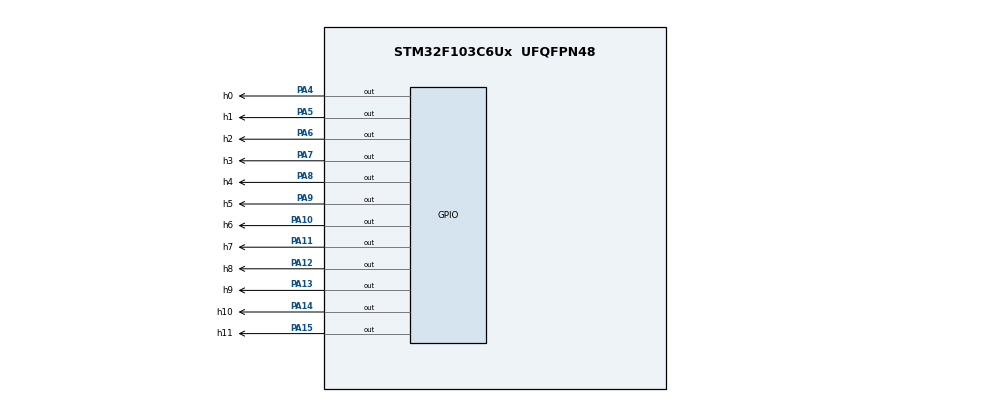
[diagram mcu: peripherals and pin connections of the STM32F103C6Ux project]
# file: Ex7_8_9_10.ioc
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Mcu.Family=STM32F1
Mcu.Name=STM32F103C6Ux
Mcu.Package=UFQFPN48
NVIC.PriorityGroup=NVIC_PRIORITYGROUP_4
PA10.GPIO_Label=h6
PA10.GPIO_ModeDefaultOutputPP=GPIO_MODE_OUTPUT_PP
PA10.PinState=GPIO_PIN_SET
PA10.Signal=GPIO_Output
PA11.GPIO_Label=h7
PA11.GPIO_ModeDefaultOutputPP=GPIO_MODE_OUTPUT_PP
PA11.PinState=GPIO_PIN_SET
PA11.Signal=GPIO_Output
PA12.GPIO_Label=h8
PA12.GPIO_ModeDefaultOutputPP=GPIO_MODE_OUTPUT_PP
PA12.PinState=GPIO_PIN_SET
PA12.Signal=GPIO_Output
PA13.GPIO_Label=h9
PA13.GPIO_ModeDefaultOutputPP=GPIO_MODE_OUTPUT_PP
PA13.PinState=GPIO_PIN_SET
PA13.Signal=GPIO_Output
PA14.GPIO_Label=h10
PA14.GPIO_ModeDefaultOutputPP=GPIO_MODE_OUTPUT_PP
PA14.PinState=GPIO_PIN_SET
PA14.Signal=GPIO_Output
PA15.GPIO_Label=h11
PA15.GPIO_ModeDefaultOutputPP=GPIO_MODE_OUTPUT_PP
PA15.PinState=GPIO_PIN_SET
PA15.Signal=GPIO_Output
PA4.GPIO_Label=h0
PA4.GPIO_ModeDefaultOutputPP=GPIO_MODE_OUTPUT_PP
PA4.PinState=GPIO_PIN_SET
PA4.Signal=GPIO_Output
PA5.GPIO_Label=h1
PA5.GPIO_ModeDefaultOutputPP=GPIO_MODE_OUTPUT_PP
PA5.PinState=GPIO_PIN_SET
PA5.Signal=GPIO_Output
PA6.GPIO_Label=h2
PA6.GPIO_ModeDefaultOutputPP=GPIO_MODE_OUTPUT_PP
PA6.PinState=GPIO_PIN_SET
PA6.Signal=GPIO_Output
PA7.GPIO_Label=h3
PA7.GPIO_ModeDefaultOutputPP=GPIO_MODE_OUTPUT_PP
PA7.PinState=GPIO_PIN_SET
PA7.Signal=GPIO_Output
PA8.GPIO_Label=h4
PA8.GPIO_ModeDefaultOutputPP=GPIO_MODE_OUTPUT_PP
PA8.PinState=GPIO_PIN_SET
PA8.Signal=GPIO_Output
PA9.GPIO_Label=h5
PA9.GPIO_ModeDefaultOutputPP=GPIO_MODE_OUTPUT_PP
PA9.PinState=GPIO_PIN_SET
PA9.Signal=GPIO_Output
ProjectManager.HeapSize=0x200
ProjectManager.StackSize=0x400
ProjectManager.TargetToolchain=STM32CubeIDE
RCC.APB1Freq_Value=8000000
RCC.APB2Freq_Value=8000000
VP_SYS_VS_ND.Mode=No_Debug
board=custom

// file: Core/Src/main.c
/* USER CODE BEGIN Header */
/**
  ******************************************************************************
  * @file           : main.c
  * @brief          : Main program body
  ******************************************************************************
  * @attention
  *
  * Copyright (c) 2026 STMicroelectronics.
  * All rights reserved.
  *
  * This software is licensed under terms that can be found in the LICENSE file
  * in the root directory of this software component.
  * If no LICENSE file comes with this software, it is provided AS-IS.
  *
  ******************************************************************************
  */
/* USER CODE END Header */
#include "main.h"

void SystemClock_Config(void);
static void MX_GPIO_Init(void);

/* USER CODE BEGIN 0 */
void clearAllClock(void) {
    for (int i = 4; i <= 15; i++) {
        HAL_GPIO_WritePin(GPIOA, (uint16_t)(1 << i), GPIO_PIN_SET);
    }
}
void setNumberOnClock(int num) {
    if (num >= 0 && num <= 11) {
        HAL_GPIO_WritePin(GPIOA, (uint16_t)(1 << (num + 4)), GPIO_PIN_RESET);
    }
}
void clearNumberOnClock(int num) {
    if (num >= 0 && num <= 11) {
        HAL_GPIO_WritePin(GPIOA, (uint16_t)(1 << (num + 4)), GPIO_PIN_SET);
    }
}
/* USER CODE END 0 */

int main(void)
{

  /* MCU Configuration--------------------------------------------------------*/

  /* Reset of all peripherals, Initializes the Flash interface and the Systick. */
  HAL_Init();

  /* Configure the system clock */
  SystemClock_Config();

  /* Initialize all configured peripherals */
  MX_GPIO_Init();
  int hour = 0;
  int min = 10;
  int sec = 0;
  /* Infinite loop */
  /* USER CODE BEGIN WHILE */
  while (1)
  {
	  clearAllClock();

	int hour_pos = hour % 12;
	int min_pos = min / 5;
	int sec_pos = sec / 5;

	setNumberOnClock(hour_pos);
	setNumberOnClock(min_pos);
	setNumberOnClock(sec_pos);

	HAL_Delay(1000);

	sec++;
	if (sec >= 60) {
		sec = 0;
		min++;
		if (min >= 60) {
			min = 0;
			hour++;
			if (hour >= 24) {
				hour = 0;
			}
		}
	}
    /* USER CODE END WHILE */

  }
}

void SystemClock_Config(void)
{
  RCC_OscInitTypeDef RCC_OscInitStruct = {0};
  RCC_ClkInitTypeDef RCC_ClkInitStruct = {0};

  /** Initializes the RCC Oscillators according to the specified parameters
  * in the RCC_OscInitTypeDef structure.
  */
  RCC_OscInitStruct.OscillatorType = RCC_OSCILLATORTYPE_HSI;
  RCC_OscInitStruct.HSIState = RCC_HSI_ON;
  RCC_OscInitStruct.HSICalibrationValue = RCC_HSICALIBRATION_DEFAULT;
  RCC_OscInitStruct.PLL.PLLState = RCC_PLL_NONE;
  if (HAL_RCC_OscConfig(&RCC_OscInitStruct) != HAL_OK)
  {
    Error_Handler();
  }

  /** Initializes the CPU, AHB and APB buses clocks
  */
  RCC_ClkInitStruct.ClockType = RCC_CLOCKTYPE_HCLK|RCC_CLOCKTYPE_SYSCLK
                              |RCC_CLOCKTYPE_PCLK1|RCC_CLOCKTYPE_PCLK2;
  RCC_ClkInitStruct.SYSCLKSource = RCC_SYSCLKSOURCE_HSI;
  RCC_ClkInitStruct.AHBCLKDivider = RCC_SYSCLK_DIV1;
  RCC_ClkInitStruct.APB1CLKDivider = RCC_HCLK_DIV1;
  RCC_ClkInitStruct.APB2CLKDivider = RCC_HCLK_DIV1;

  if (HAL_RCC_ClockConfig(&RCC_ClkInitStruct, FLASH_LATENCY_0) != HAL_OK)
  {
    Error_Handler();
  }
}

static void MX_GPIO_Init(void)
{
  GPIO_InitTypeDef GPIO_InitStruct = {0};

  /* GPIO Ports Clock Enable */
  __HAL_RCC_GPIOA_CLK_ENABLE();

  /*Configure GPIO pin Output Level */
  HAL_GPIO_WritePin(GPIOA, h0_Pin|h1_Pin|h2_Pin|h3_Pin
                          |h4_Pin|h5_Pin|h6_Pin|h7_Pin
                          |h8_Pin|h9_Pin|h10_Pin|h11_Pin, GPIO_PIN_SET);

  /*Configure GPIO pins : h0_Pin h1_Pin h2_Pin h3_Pin
                           h4_Pin h5_Pin h6_Pin h7_Pin
                           h8_Pin h9_Pin h10_Pin h11_Pin */
  GPIO_InitStruct.Pin = h0_Pin|h1_Pin|h2_Pin|h3_Pin
                          |h4_Pin|h5_Pin|h6_Pin|h7_Pin
                          |h8_Pin|h9_Pin|h10_Pin|h11_Pin;
  GPIO_InitStruct.Mode = GPIO_MODE_OUTPUT_PP;
  GPIO_InitStruct.Pull = GPIO_NOPULL;
  GPIO_InitStruct.Speed = GPIO_SPEED_FREQ_LOW;
  HAL_GPIO_Init(GPIOA, &GPIO_InitStruct);

}

void Error_Handler(void)
{
  __disable_irq();
  while (1)
  {
  }
}
